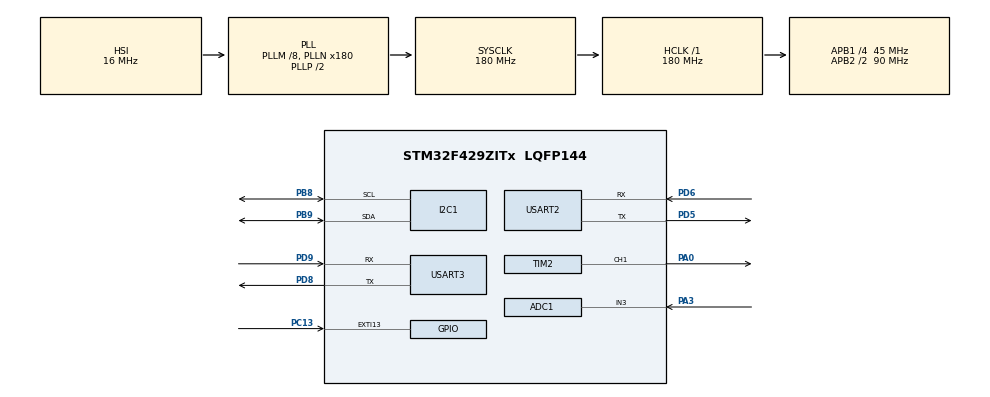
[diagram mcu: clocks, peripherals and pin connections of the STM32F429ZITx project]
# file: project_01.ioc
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ADC1.Channel-0\#ChannelRegularConversion=ADC_CHANNEL_3
ADC1.NbrOfConversionFlag=1
ADC1.Rank-0\#ChannelRegularConversion=1
ADC1.SamplingTime-0\#ChannelRegularConversion=ADC_SAMPLETIME_3CYCLES
ADC1.master=1
Mcu.Family=STM32F4
Mcu.Name=STM32F429ZITx
Mcu.Package=LQFP144
NVIC.EXTI15_10_IRQn=true\:0\:0\:false\:true\:true\:2\:true\:true\:true
NVIC.PriorityGroup=NVIC_PRIORITYGROUP_4
NVIC.TIM3_IRQn=true\:0\:0\:false\:true\:true\:3\:true\:true\:true
NVIC.USART3_IRQn=true\:0\:0\:false\:true\:true\:1\:true\:true\:true
PA0/WKUP.Signal=S_TIM2_CH1_ETR
PA13.Mode=Serial_Wire
PA13.Signal=SYS_JTMS-SWDIO
PA14.Mode=Serial_Wire
PA14.Signal=SYS_JTCK-SWCLK
PA3.Signal=ADCx_IN3
PB8.GPIO_Pu=GPIO_PULLUP
PB8.Mode=I2C
PB8.Signal=I2C1_SCL
PB9.GPIO_Pu=GPIO_PULLUP
PB9.Mode=I2C
PB9.Signal=I2C1_SDA
PC13.GPIO_ModeDefaultEXTI=GPIO_MODE_IT_RISING_FALLING
PC13.Signal=GPXTI13
PC14/OSC32_IN.Mode=LSE-External-Oscillator
PC14/OSC32_IN.Signal=RCC_OSC32_IN
PC15/OSC32_OUT.Mode=LSE-External-Oscillator
PC15/OSC32_OUT.Signal=RCC_OSC32_OUT
PD5.Mode=Asynchronous
PD5.Signal=USART2_TX
PD6.Mode=Asynchronous
PD6.Signal=USART2_RX
PD8.Mode=Asynchronous
PD8.Signal=USART3_TX
PD9.Mode=Asynchronous
PD9.Signal=USART3_RX
ProjectManager.HeapSize=0x200
ProjectManager.StackSize=0x400
ProjectManager.TargetToolchain=STM32CubeIDE
RCC.48MHZClocksFreq_Value=90000000
RCC.AHBFreq_Value=180000000
RCC.APB1CLKDivider=RCC_HCLK_DIV4
RCC.APB1Freq_Value=45000000
RCC.APB1TimFreq_Value=90000000
RCC.APB2CLKDivider=RCC_HCLK_DIV2
RCC.APB2Freq_Value=90000000
RCC.APB2TimFreq_Value=180000000
RCC.CortexFreq_Value=180000000
RCC.HCLKFreq_Value=180000000
RCC.HSE_VALUE=25000000
RCC.HSI_VALUE=16000000
RCC.PLLM=8
RCC.PLLN=180
RCC.RCC_RTC_Clock_Source=RCC_RTCCLKSOURCE_LSE
RCC.RCC_RTC_Clock_SourceVirtual=RCC_RTCCLKSOURCE_LSE
RCC.SYSCLKFreq_VALUE=180000000
RCC.SYSCLKSource=RCC_SYSCLKSOURCE_PLLCLK
RCC.VCOOutputFreq_Value=360000000
RTC.Format=RTC_FORMAT_BIN
RTC.HourFormat=RTC_HOURFORMAT_12
SH.ADCx_IN3.0=ADC1_IN3,IN3
SH.S_TIM2_CH1_ETR.0=TIM2_CH1,PWM Generation1 CH1
TIM2.Channel-PWM\ Generation1\ CH1=TIM_CHANNEL_1
TIM2.Period=1000-1
TIM2.Prescaler=180-1
TIM3.Period=900
TIM3.Prescaler=10000
USART2.VirtualMode=VM_ASYNC
USART3.VirtualMode=VM_ASYNC
VP_RTC_VS_RTC_Activate.Mode=RTC_Enabled
VP_RTC_VS_RTC_Calendar.Mode=RTC_Calendar
VP_TIM2_VS_ClockSourceINT.Mode=Internal
VP_TIM3_VS_ClockSourceINT.Mode=Internal
board=custom

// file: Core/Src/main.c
/* USER CODE BEGIN Header */
/**
 ******************************************************************************
 * @file           : main.c
 * @brief          : Main program body
 ******************************************************************************
 * @attention
 *
 * Copyright (c) 2022 STMicroelectronics.
 * All rights reserved.
 *
 * This software is licensed under terms that can be found in the LICENSE file
 * in the root directory of this software component.
 * If no LICENSE file comes with this software, it is provided AS-IS.
 *
 ******************************************************************************
 */
/* USER CODE END Header */
#include "main.h"
#include "adc.h"
#include "i2c.h"
#include "rtc.h"
#include "tim.h"
#include "usart.h"
#include "gpio.h"

/* USER CODE BEGIN Includes */
#include "user_exti.h"
#include "user_adc.h"
#include "user_lcd.h"
#include "user_pwm.h"
#include <string.h>
#include <stdio.h>
/* USER CODE END Includes */

/* USER CODE BEGIN PTD */
typedef struct {
	uint8_t f;
	uint8_t h;
	uint8_t m;
	uint8_t s;
} SETTIME;

typedef struct FLAHTIME {
	uint8_t year;
	uint8_t month;
	uint8_t day;
	uint8_t format;
	uint8_t hour;
	uint8_t minutes;
	uint8_t seconds;
	uint8_t alramFormat;
	uint8_t alramHour;
	uint8_t alramMinutes;
	uint8_t alramSeconds;

} FT;

/* USER CODE END PTD */

/* USER CODE BEGIN PD */
#define FLASH_USER_START_ADDR   ADDR_FLASH_SECTOR_12

#define FLASH_USER_END_ADDR    ADDR_FLASH_SECTOR_23  +  GetSectorSize(ADDR_FLASH_SECTOR_23) - 1
#define DATA_32                 ((uint32_t)0x00001111)
/* USER CODE END PD */

/* USER CODE BEGIN PV */
char buf[25]; // printf
char temp[25]; // set Time
char buf2[25]; //  set Alarm
char ampm[2][3] = { "AM", "PM" };
char alarmSet[2][4] = { "ON ", "OFF" };
int newflag = 0;
FT flashTime;
FT flashTime2;
uint8_t mode = 1;
int alarmMode = 1;

extern uint8_t flag;
extern int ADC_value;
extern uint8_t longClick;

SETTIME st;
SETTIME at;
RTC_TimeTypeDef sTime = { 0 };
RTC_DateTypeDef sDate = { 0 };

// ------------ flash memory --------------------------------------------------- //
static FLASH_EraseInitTypeDef EraseInitStruct;
static uint32_t GetSector(uint32_t Address);

uint32_t FirstSector = 0, NbOfSectors = 0;
uint32_t Address = 0, SECTORError = 0;
__IO uint32_t data32 = 0, MemoryProgramStatus = 0;
// ------------ flash memory --------------------------------------------------- //

/* USER CODE END PV */

void SystemClock_Config(void);
static void MX_NVIC_Init(void);
/* USER CODE BEGIN PFP */
void AdcSwitch(uint8_t *adc_point, int *location);
void SetTimeUp(const int *location);
void SaveAlarm();
void SaveSeting();
void SetUpflash();

/* USER CODE END PFP */

/* USER CODE BEGIN 0 */
int __io_putchar(int ch) {
	HAL_UART_Transmit(&huart3, (uint8_t*) &ch, 1, 100);
	return ch;
}

/* USER CODE END 0 */

int main(void)
{
  /* USER CODE BEGIN 1 */
	int location = 0;
	uint8_t adc_point = 0;
	char alarmOnOff[2][2] = { "A", " " };
	char flag1buf[25];

  /* USER CODE END 1 */

  /* MCU Configuration--------------------------------------------------------*/

  /* Reset of all peripherals, Initializes the Flash interface and the Systick. */
  HAL_Init();

  /* Configure the system clock */
  SystemClock_Config();

  /* Initialize all configured peripherals */
  MX_GPIO_Init();
  MX_RTC_Init();
  MX_ADC1_Init();
  MX_I2C1_Init();
  MX_TIM2_Init();
  MX_TIM3_Init();
  MX_USART2_UART_Init();
  MX_USART3_UART_Init();

  /* Initialize interrupts */
  MX_NVIC_Init();
  /* USER CODE BEGIN 2 */
	HAL_FLASH_Unlock();

	if (*((uint32_t*) 0x08104000) == DATA_32) {

		FirstSector = GetSector(FLASH_USER_START_ADDR);
		NbOfSectors = 1;
		EraseInitStruct.TypeErase = FLASH_TYPEERASE_SECTORS;
		EraseInitStruct.VoltageRange = FLASH_VOLTAGE_RANGE_3;
		EraseInitStruct.Sector = FirstSector;
		EraseInitStruct.NbSectors = NbOfSectors;

		flashTime.alramFormat = *((uint32_t*) 0x08100014);
		flashTime.alramHour = *((uint32_t*) 0x08100018);
		flashTime.alramMinutes = *((uint32_t*) 0x0810001C);
		flashTime.alramSeconds = *((uint32_t*) 0x08100020);
		alarmMode = *((uint32_t*) 0x08100024);

	} else {

		FirstSector = GetSector(FLASH_USER_START_ADDR);
		NbOfSectors = 2;
		EraseInitStruct.TypeErase = FLASH_TYPEERASE_SECTORS;
		EraseInitStruct.VoltageRange = FLASH_VOLTAGE_RANGE_3;
		EraseInitStruct.Sector = FirstSector;
		EraseInitStruct.NbSectors = NbOfSectors;

		if (HAL_FLASHEx_Erase(&EraseInitStruct, &SECTORError) != HAL_OK) {

		}

		NbOfSectors = 1;
		EraseInitStruct.NbSectors = NbOfSectors;

		Address = ADDR_FLASH_SECTOR_12;

		HAL_FLASH_Program(FLASH_TYPEPROGRAM_WORD, ((uint32_t) 0x08104000),
				((uint32_t) DATA_32));

		HAL_FLASH_Program(FLASH_TYPEPROGRAM_WORD, ((uint32_t) 0x08100014), 0);
		HAL_FLASH_Program(FLASH_TYPEPROGRAM_WORD, ((uint32_t) 0x08100018), 12);
		HAL_FLASH_Program(FLASH_TYPEPROGRAM_WORD, ((uint32_t) 0x0810001C), 0);
		HAL_FLASH_Program(FLASH_TYPEPROGRAM_WORD, ((uint32_t) 0x08100020), 0);

		HAL_FLASH_Program(FLASH_TYPEPROGRAM_WORD, ((uint32_t) 0x08100024), 1); // alarmMode off

		flashTime.alramFormat = *((uint32_t*) 0x08100014);
		flashTime.alramHour = *((uint32_t*) 0x08100018);
		flashTime.alramMinutes = *((uint32_t*) 0x0810001C);
		flashTime.alramSeconds = *((uint32_t*) 0x08100020);
		alarmMode = *((uint32_t*) 0x08100024);

	}

	HAL_FLASH_Lock();

	init();
	HAL_TIM_Base_Init(&htim3);
	HAL_TIM_PWM_Start(&htim2, TIM_CHANNEL_1);

	at.f = flashTime.alramFormat;
	at.h = flashTime.alramHour;
	at.m = flashTime.alramMinutes;
	at.s = flashTime.alramSeconds;

	sDate.Year = 22;
	sDate.Month = 6;
	sDate.Date = 20;
	sTime.TimeFormat = 0;
	sTime.Hours = 12;

	HAL_RTC_SetTime(&hrtc, &sTime, RTC_FORMAT_BIN);
	HAL_RTC_SetDate(&hrtc, &sDate, RTC_FORMAT_BIN);

	memset(flag1buf, 0, sizeof(flag1buf));
	memset(buf, 0, sizeof(buf));

  /* USER CODE END 2 */

  /* Infinite loop */
	while (1) {

    /* USER CODE BEGIN 3 */
		if (flag == 0) {
			//********************** cursor ****************************************
			bufferState();
			//********************* Display ** LINE 1 ******************************
			sprintf(flag1buf, " %s   LCD Clock  ", alarmOnOff[alarmMode]);
			LCD_SendCommand(LCD_ADDR, 0b10000000);
			LCD_SendString(LCD_ADDR, flag1buf);
			//********************* Display ** LINE 2 ******************************
			location = 0;
			while (flag == 0) {
				HAL_RTC_GetTime(&hrtc, &sTime, RTC_FORMAT_BIN);
				HAL_RTC_GetDate(&hrtc, &sDate, RTC_FORMAT_BIN);
				HAL_UART_Transmit(&huart3, (uint8_t*) buf, sizeof(buf), 2000);
				sprintf(buf, "%s %02d:%02d:%02d     ", ampm[sTime.TimeFormat],
						sTime.Hours, sTime.Minutes, sTime.Seconds);
				printf("\r\n");
				LCD_SendCommand(LCD_ADDR, 0b11000000);
				LCD_SendString(LCD_ADDR, buf);
				//**********************************************************************
				// 알람이 울릴 때 longClick 으로 종료할 수 있따.
				if (alarmMode == 0) {
					if (at.f == sTime.TimeFormat) {
						if (at.h == sTime.Hours && at.m == sTime.Minutes
								&& at.s == sTime.Seconds) {
							alarmMode = 1;
							while (longClick == 0) {
								//BicycleSong();
								underworld();
							}
							longClick = 0;
							sprintf(flag1buf, " %s   LCD Clock  ",
									alarmOnOff[alarmMode]);
							LCD_SendCommand(LCD_ADDR, 0b10000000);
							LCD_SendString(LCD_ADDR, flag1buf);
						}
					}
				}
				//**********************************************************************
			}
		}
		//set Time
		else if (flag == 1) {
			//********************* Display ** LINE 1 ******************************
			sprintf(flag1buf, " %s   Set Time   ", alarmOnOff[alarmMode]);
			LCD_SendCommand(LCD_ADDR, 0b10000000);
			LCD_SendString(LCD_ADDR, flag1buf);
			//********************* Display ** LINE 2 ******************************
			sprintf(buf, "%s %02d:%02d:%02d     ", ampm[sTime.TimeFormat],
					sTime.Hours, sTime.Minutes, sTime.Seconds);
			LCD_SendCommand(LCD_ADDR, 0b11000000);
			LCD_SendString(LCD_ADDR, buf);
			//********************** cursor ****************************************
			bufferState();
			location = 0;
			//***********************st 초기화 *******************************************
			st.f = sTime.TimeFormat;
			st.h = sTime.Hours;
			st.m = sTime.Minutes;
			st.s = sTime.Seconds;
			//**********************************************************************
			longClick = 0;
			while (flag == 1) {
				AdcSwitch(&adc_point, &location);
				SaveSeting();
			}
			//**********************************************************************
		}
		//alarm
		else if (flag == 2) {
			//********************* Display ** LINE 1 ******************************
			sprintf(flag1buf, " %s   alarm      ", alarmOnOff[alarmMode]);
			LCD_SendCommand(LCD_ADDR, 0b10000000);
			LCD_SendString(LCD_ADDR, flag1buf);
			//********************* Display ** LINE 2 ******************************
			sprintf(buf2, "%s %02d:%02d:%02d %s ", ampm[at.f], at.h, at.m, at.s,
					alarmSet[alarmMode]);
			LCD_SendCommand(LCD_ADDR, 0b11000000);
			LCD_SendString(LCD_ADDR, buf2);
			//********************** cursor ****************************************
			bufferState();
			location = 0;
			//***********************st 초기화 *******************************************
			st.f = at.f;
			st.h = at.h;
			st.m = at.m;
			st.s = at.s;
			//**********************************************************************
			longClick = 0;
			while (flag == 2) {
				AdcSwitch(&adc_point, &location);
				SaveAlarm();
			}
			//**********************************************************************
		} else if (flag > 2)
			flag = 0;
	}
  /* USER CODE END 3 */
}

void SystemClock_Config(void)
{
  RCC_OscInitTypeDef RCC_OscInitStruct = {0};
  RCC_ClkInitTypeDef RCC_ClkInitStruct = {0};

  /** Configure the main internal regulator output voltage
  */
  __HAL_RCC_PWR_CLK_ENABLE();
  __HAL_PWR_VOLTAGESCALING_CONFIG(PWR_REGULATOR_VOLTAGE_SCALE1);

  /** Initializes the RCC Oscillators according to the specified parameters
  * in the RCC_OscInitTypeDef structure.
  */
  RCC_OscInitStruct.OscillatorType = RCC_OSCILLATORTYPE_HSI|RCC_OSCILLATORTYPE_LSE;
  RCC_OscInitStruct.LSEState = RCC_LSE_ON;
  RCC_OscInitStruct.HSIState = RCC_HSI_ON;
  RCC_OscInitStruct.HSICalibrationValue = RCC_HSICALIBRATION_DEFAULT;
  RCC_OscInitStruct.PLL.PLLState = RCC_PLL_ON;
  RCC_OscInitStruct.PLL.PLLSource = RCC_PLLSOURCE_HSI;
  RCC_OscInitStruct.PLL.PLLM = 8;
  RCC_OscInitStruct.PLL.PLLN = 180;
  RCC_OscInitStruct.PLL.PLLP = RCC_PLLP_DIV2;
  RCC_OscInitStruct.PLL.PLLQ = 4;
  if (HAL_RCC_OscConfig(&RCC_OscInitStruct) != HAL_OK)
  {
    Error_Handler();
  }

  /** Activate the Over-Drive mode
  */
  if (HAL_PWREx_EnableOverDrive() != HAL_OK)
  {
    Error_Handler();
  }

  /** Initializes the CPU, AHB and APB buses clocks
  */
  RCC_ClkInitStruct.ClockType = RCC_CLOCKTYPE_HCLK|RCC_CLOCKTYPE_SYSCLK
                              |RCC_CLOCKTYPE_PCLK1|RCC_CLOCKTYPE_PCLK2;
  RCC_ClkInitStruct.SYSCLKSource = RCC_SYSCLKSOURCE_PLLCLK;
  RCC_ClkInitStruct.AHBCLKDivider = RCC_SYSCLK_DIV1;
  RCC_ClkInitStruct.APB1CLKDivider = RCC_HCLK_DIV4;
  RCC_ClkInitStruct.APB2CLKDivider = RCC_HCLK_DIV2;

  if (HAL_RCC_ClockConfig(&RCC_ClkInitStruct, FLASH_LATENCY_5) != HAL_OK)
  {
    Error_Handler();
  }
}

/**
  * @brief NVIC Configuration.
  * @retval None
  */
static void MX_NVIC_Init(void)
{
  /* USART3_IRQn interrupt configuration */
  HAL_NVIC_SetPriority(USART3_IRQn, 0, 0);
  HAL_NVIC_EnableIRQ(USART3_IRQn);
  /* EXTI15_10_IRQn interrupt configuration */
  HAL_NVIC_SetPriority(EXTI15_10_IRQn, 0, 0);
  HAL_NVIC_EnableIRQ(EXTI15_10_IRQn);
  /* TIM3_IRQn interrupt configuration */
  HAL_NVIC_SetPriority(TIM3_IRQn, 0, 0);
  HAL_NVIC_EnableIRQ(TIM3_IRQn);
}

/* USER CODE BEGIN 4 */
void SaveAlarm() {
	/***************** Save 기능 **************************/
	if (longClick == 1) {
		at.f = st.f;
		at.h = st.h;
		at.m = st.m;
		at.s = st.s;
		longClick = 0;
		flag = 0;
		SetUpflash();
	}

}

void SaveSeting() {

	/***************** Save 기능 **************************/
	if (longClick == 1) {
		sTime.TimeFormat = st.f;
		sTime.Hours = st.h;
		sTime.Minutes = st.m;
		sTime.Seconds = st.s;

		HAL_RTC_SetTime(&hrtc, &sTime, RTC_FORMAT_BIN);
		HAL_RTC_SetDate(&hrtc, &sDate, RTC_FORMAT_BIN);

		longClick = 0;
		flag = 0;
	}
}
void SetTimeDown(const int *location) {
	if (*location == 0) {
		st.f ^= 1;
	} else if (*location == 3) {
		if (st.h >= 10)
			st.h -= 10;
		else if (st.h == 0)
			st.h = 10;
		else
			st.h = 0;
	} else if (*location == 4) {
		if (st.h == 0)
			st.h = 12;
		else
			st.h -= 1;
	} else if (*location == 6) {
		if (st.m < 10)
			st.m += 50;
		else
			st.m -= 10;
	} else if (*location == 7) {
		if (st.m % 10 == 0)
			st.m += 9;
		else
			st.m--;
	} else if (*location == 9) {
		if (st.s < 10)
			st.s += 50;
		else
			st.s -= 10;
	} else if (*location == 10) {
		if (st.s % 10 == 0)
			st.s += 9;
		else
			st.s--;
	} else if (*location == 12 && flag == 2)
		alarmMode ^= 1;

	//-------------------------------------------------------
	char format[3];
	if (st.f == 0)
		strcpy(format, "AM");
	else if (st.f == 1)
		strcpy(format, "PM");
	/****************** Display *************************************/
	if (flag == 1)
		sprintf(temp, "%s %02d:%02d:%02d     ", format, st.h, st.m, st.s);
	else if (flag == 2)
		sprintf(temp, "%s %02d:%02d:%02d %s  ", format, st.h, st.m, st.s,
				alarmSet[alarmMode]);
	LCD_SendCommand(LCD_ADDR, 0b11000000);
	LCD_SendString(LCD_ADDR, temp);

	/***************** SetTime 후 커서 되돌리기 **************************/
	LCD_SendCommand(LCD_ADDR, 0b11000000);
	for (int j = 0; j < *location; j++) {
		LCD_SendCommand(LCD_ADDR, 0b00010100);
	}

}

void SetTimeUp(const int *location) {
	if (*location == 0) {
		st.f ^= 1;
	} else if (*location == 3) {
		if (st.h > 2 && st.h != 12)
			st.h = 12;
		else if (st.h == 12)
			st.h = 0;
		else
			st.h += 10;
	} else if (*location == 4) {
		if (st.h == 12)
			st.h = 0;
		else
			st.h += 1;

	} else if (*location == 6) {
		if (st.m >= 50)
			st.m -= 50;
		else if (st.m < 50) {
			st.m += 10;
		}
	} else if (*location == 7) {
		if (st.m % 10 == 9)
			st.m -= 9;
		else
			st.m++;
	} else if (*location == 9) {
		if (st.s >= 50)
			st.s -= 50;
		else if (st.s < 50)
			st.s += 10;
	} else if (*location == 10) {
		if (st.s % 10 == 9)
			st.s -= 9;
		else
			st.s++;
	} else if (*location == 12 && flag == 2)
		alarmMode ^= 1;
	char format[3];
	if (st.f == 0)
		strcpy(format, "AM");
	else if (st.f == 1)
		strcpy(format, "PM");
	/****************** Display *************************************/
	if (flag == 1)
		sprintf(temp, "%s %02d:%02d:%02d     ", format, st.h, st.m, st.s);
	else if (flag == 2)
		sprintf(temp, "%s %02d:%02d:%02d %s  ", format, st.h, st.m, st.s,
				alarmSet[alarmMode]);
	LCD_SendCommand(LCD_ADDR, 0b11000000);
	LCD_SendString(LCD_ADDR, temp);

	/***************** SetTime 후 커서 되돌리기 **************************/
	LCD_SendCommand(LCD_ADDR, 0b11000000);
	for (int j = 0; j < *location; j++) {
		LCD_SendCommand(LCD_ADDR, 0b00010100);
	}
}

void AdcSwitch(uint8_t *adc_point, int *location) {
	//***************** UP *************************************************
	if (newflag == 1 && *adc_point != 1) {
		*adc_point = 1;
		printf("ADC_value = %d\r\n", ADC_value);
		SetTimeUp(location);
	}
	//***************** DOWN ***********************************************
	else if (newflag == 2 && *adc_point != 2) {
		*adc_point = 2;
		printf("ADC_value = %d\r\n", ADC_value);
		SetTimeDown(location);
	}
	//****************** LEFT **********************************************
	else if (newflag == 3 && *adc_point != 3) {
		printf("ADC_value = %d\r\n", ADC_value);
		*adc_point = 3;
		//****************** LEFT **********************************************
		if (*location <= 0) {
			for (int r = 0; r < 12; r++) {
				LCD_SendCommand(LCD_ADDR, 0b00010100);
			}
			*location = 12;
		} else {
			if (*location == 3) {
				LCD_SendCommand(LCD_ADDR, 0b00010000);
				LCD_SendCommand(LCD_ADDR, 0b00010000);
				(*location) -= 2;
			}
			if (*location == 6 || *location == 9 || *location == 12) {
				LCD_SendCommand(LCD_ADDR, 0b00010000);
				(*location) -= 1;
			}
			LCD_SendCommand(LCD_ADDR, 0b00010000);
			(*location)--;
			printf("2||%d\r\n", *adc_point);
		}
	}
	//***************** RIGHT **********************************************
	else if (newflag == 4 && *adc_point != 4) {
		printf("ADC_value = %d\r\n", ADC_value);
		*adc_point = 4;
		//***************** RIGHT **********************************************
		if (12 <= *location) {
			for (int l = 12; l > 0; l--) {
				LCD_SendCommand(LCD_ADDR, 0b00010000);
			}
			*location = 0;
		} else {
			if (*location == 0) {
				LCD_SendCommand(LCD_ADDR, 0b00010100);
				LCD_SendCommand(LCD_ADDR, 0b00010100);
				(*location) += 2;
			}
			if (*location == 4 || *location == 7 || *location == 10) {
				LCD_SendCommand(LCD_ADDR, 0b00010100);
				(*location) += 1;
			}
			LCD_SendCommand(LCD_ADDR, 0b00010100);
			(*location)++;

		}
	}
	if (ADC_value > RIGHT_KEY_MAX && *adc_point != 0) {
		*adc_point = 0;
	}
//**********************************************************************

}

static uint32_t GetSector(uint32_t Address) {
	uint32_t sector = 0;

	if ((Address < ADDR_FLASH_SECTOR_1) && (Address >= ADDR_FLASH_SECTOR_0)) {
		sector = FLASH_SECTOR_0;
	} else if ((Address < ADDR_FLASH_SECTOR_2)
			&& (Address >= ADDR_FLASH_SECTOR_1)) {
		sector = FLASH_SECTOR_1;
	} else if ((Address < ADDR_FLASH_SECTOR_3)
			&& (Address >= ADDR_FLASH_SECTOR_2)) {
		sector = FLASH_SECTOR_2;
	} else if ((Address < ADDR_FLASH_SECTOR_4)
			&& (Address >= ADDR_FLASH_SECTOR_3)) {
		sector = FLASH_SECTOR_3;
	} else if ((Address < ADDR_FLASH_SECTOR_5)
			&& (Address >= ADDR_FLASH_SECTOR_4)) {
		sector = FLASH_SECTOR_4;
	} else if ((Address < ADDR_FLASH_SECTOR_6)
			&& (Address >= ADDR_FLASH_SECTOR_5)) {
		sector = FLASH_SECTOR_5;
	} else if ((Address < ADDR_FLASH_SECTOR_7)
			&& (Address >= ADDR_FLASH_SECTOR_6)) {
		sector = FLASH_SECTOR_6;
	} else if ((Address < ADDR_FLASH_SECTOR_8)
			&& (Address >= ADDR_FLASH_SECTOR_7)) {
		sector = FLASH_SECTOR_7;
	} else if ((Address < ADDR_FLASH_SECTOR_9)
			&& (Address >= ADDR_FLASH_SECTOR_8)) {
		sector = FLASH_SECTOR_8;
	} else if ((Address < ADDR_FLASH_SECTOR_10)
			&& (Address >= ADDR_FLASH_SECTOR_9)) {
		sector = FLASH_SECTOR_9;
	} else if ((Address < ADDR_FLASH_SECTOR_11)
			&& (Address >= ADDR_FLASH_SECTOR_10)) {
		sector = FLASH_SECTOR_10;
	} else if ((Address < ADDR_FLASH_SECTOR_12)
			&& (Address >= ADDR_FLASH_SECTOR_11)) {
		sector = FLASH_SECTOR_11;
	} else if ((Address < ADDR_FLASH_SECTOR_13)
			&& (Address >= ADDR_FLASH_SECTOR_12)) {
		sector = FLASH_SECTOR_12;
	} else if ((Address < ADDR_FLASH_SECTOR_14)
			&& (Address >= ADDR_FLASH_SECTOR_13)) {
		sector = FLASH_SECTOR_13;
	} else if ((Address < ADDR_FLASH_SECTOR_15)
			&& (Address >= ADDR_FLASH_SECTOR_14)) {
		sector = FLASH_SECTOR_14;
	} else if ((Address < ADDR_FLASH_SECTOR_16)
			&& (Address >= ADDR_FLASH_SECTOR_15)) {
		sector = FLASH_SECTOR_15;
	} else if ((Address < ADDR_FLASH_SECTOR_17)
			&& (Address >= ADDR_FLASH_SECTOR_16)) {
		sector = FLASH_SECTOR_16;
	} else if ((Address < ADDR_FLASH_SECTOR_18)
			&& (Address >= ADDR_FLASH_SECTOR_17)) {
		sector = FLASH_SECTOR_17;
	} else if ((Address < ADDR_FLASH_SECTOR_19)
			&& (Address >= ADDR_FLASH_SECTOR_18)) {
		sector = FLASH_SECTOR_18;
	} else if ((Address < ADDR_FLASH_SECTOR_20)
			&& (Address >= ADDR_FLASH_SECTOR_19)) {
		sector = FLASH_SECTOR_19;
	} else if ((Address < ADDR_FLASH_SECTOR_21)
			&& (Address >= ADDR_FLASH_SECTOR_20)) {
		sector = FLASH_SECTOR_20;
	} else if ((Address < ADDR_FLASH_SECTOR_22)
			&& (Address >= ADDR_FLASH_SECTOR_21)) {
		sector = FLASH_SECTOR_21;
	} else if ((Address < ADDR_FLASH_SECTOR_23)
			&& (Address >= ADDR_FLASH_SECTOR_22)) {
		sector = FLASH_SECTOR_22;
	} else /* (Address < FLASH_END_ADDR) && (Address >= ADDR_FLASH_SECTOR_23) */
	{
		sector = FLASH_SECTOR_23;
	}
	return sector;
}

void SetUpflash() {

	HAL_RTC_GetTime(&hrtc, &sTime, RTC_FORMAT_BIN);
	HAL_RTC_GetDate(&hrtc, &sDate, RTC_FORMAT_BIN);

	flashTime.alramFormat = at.f;
	flashTime.alramHour = at.h;
	flashTime.alramMinutes = at.m;
	flashTime.alramSeconds = at.s;

	HAL_FLASH_Unlock();

	if (HAL_FLASHEx_Erase(&EraseInitStruct, &SECTORError) != HAL_OK) {

	}

	HAL_FLASH_Program(FLASH_TYPEPROGRAM_WORD, ((uint32_t) 0x08100014),
			flashTime.alramFormat);

	HAL_FLASH_Program(FLASH_TYPEPROGRAM_WORD, ((uint32_t) 0x08100018),
			flashTime.alramHour);

	HAL_FLASH_Program(FLASH_TYPEPROGRAM_WORD, ((uint32_t) 0x0810001C),
			flashTime.alramMinutes);

	HAL_FLASH_Program(FLASH_TYPEPROGRAM_WORD, ((uint32_t) 0x08100020),
			flashTime.alramSeconds);

	HAL_FLASH_Program(FLASH_TYPEPROGRAM_WORD, ((uint32_t) 0x08100024),
			alarmMode);

	HAL_FLASH_Lock();

}

/* USER CODE END 4 */

void Error_Handler(void)
{
	__disable_irq();
	while (1) {
	}
}
